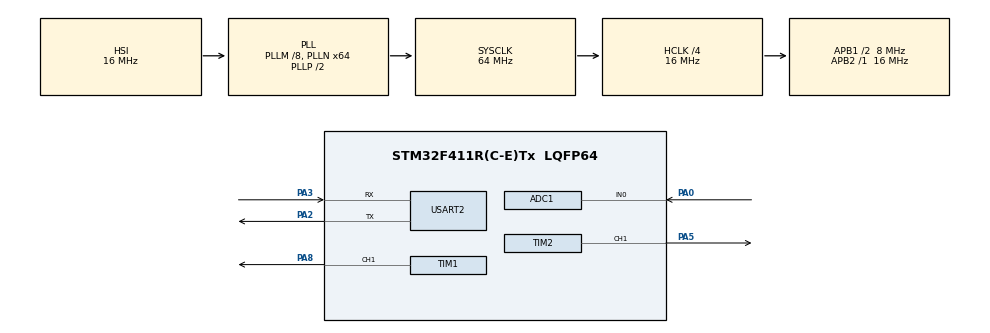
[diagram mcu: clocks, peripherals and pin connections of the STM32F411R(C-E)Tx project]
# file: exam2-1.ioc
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ADC1.Channel-0\#ChannelRegularConversion=ADC_CHANNEL_0
ADC1.ContinuousConvMode=ENABLE
ADC1.NbrOfConversionFlag=1
ADC1.Rank-0\#ChannelRegularConversion=1
ADC1.SamplingTime-0\#ChannelRegularConversion=ADC_SAMPLETIME_56CYCLES
ADC1.master=1
Mcu.Family=STM32F4
Mcu.Name=STM32F411R(C-E)Tx
Mcu.Package=LQFP64
NVIC.PriorityGroup=NVIC_PRIORITYGROUP_4
NVIC.USART2_IRQn=true\:0\:0\:false\:false\:true\:true\:true\:true
PA0-WKUP.Signal=ADCx_IN0
PA13.Mode=Serial_Wire
PA13.Signal=SYS_JTMS-SWDIO
PA14.Mode=Serial_Wire
PA14.Signal=SYS_JTCK-SWCLK
PA2.Mode=Asynchronous
PA2.Signal=USART2_TX
PA3.Mode=Asynchronous
PA3.Signal=USART2_RX
PA5.Signal=S_TIM2_CH1_ETR
PA8.Signal=S_TIM1_CH1
PC14-OSC32_IN.Mode=LSE-External-Oscillator
PC14-OSC32_IN.Signal=RCC_OSC32_IN
PC15-OSC32_OUT.Mode=LSE-External-Oscillator
PC15-OSC32_OUT.Signal=RCC_OSC32_OUT
ProjectManager.HeapSize=0x200
ProjectManager.StackSize=0x400
ProjectManager.TargetToolchain=STM32CubeIDE
RCC.48MHZClocksFreq_Value=32000000
RCC.AHBCLKDivider=RCC_SYSCLK_DIV4
RCC.AHBFreq_Value=16000000
RCC.APB1CLKDivider=RCC_HCLK_DIV2
RCC.APB1Freq_Value=8000000
RCC.APB1TimFreq_Value=16000000
RCC.APB2Freq_Value=16000000
RCC.APB2TimFreq_Value=16000000
RCC.CortexFreq_Value=16000000
RCC.HCLKFreq_Value=16000000
RCC.HSE_VALUE=25000000
RCC.HSI_VALUE=16000000
RCC.PLLM=8
RCC.PLLN=64
RCC.SYSCLKFreq_VALUE=64000000
RCC.SYSCLKSource=RCC_SYSCLKSOURCE_PLLCLK
RCC.VCOOutputFreq_Value=128000000
SH.ADCx_IN0.0=ADC1_IN0,IN0
SH.S_TIM1_CH1.0=TIM1_CH1,PWM Generation1 CH1
SH.S_TIM2_CH1_ETR.0=TIM2_CH1,PWM Generation1 CH1
TIM1.Channel-PWM\ Generation1\ CH1=TIM_CHANNEL_1
TIM1.Period=1000-1
TIM1.Prescaler=16-1
TIM1.Pulse-PWM\ Generation1\ CH1=500-1
TIM2.Channel-PWM\ Generation1\ CH1=TIM_CHANNEL_1
TIM2.Period=1000-1
TIM2.Prescaler=15
TIM2.Pulse-PWM\ Generation1\ CH1=500-1
USART2.VirtualMode=VM_ASYNC
VP_TIM1_VS_ClockSourceINT.Mode=Internal
VP_TIM2_VS_ClockSourceINT.Mode=Internal
board=custom

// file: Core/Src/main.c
/* USER CODE BEGIN Header */
/**
  ******************************************************************************
  * @file           : main.c
  * @brief          : Main program body
  ******************************************************************************
  * @attention
  *
  * Copyright (c) 2024 STMicroelectronics.
  * All rights reserved.
  *
  * This software is licensed under terms that can be found in the LICENSE file
  * in the root directory of this software component.
  * If no LICENSE file comes with this software, it is provided AS-IS.
  *
  ******************************************************************************
  */
/* USER CODE END Header */
#include "main.h"

/* USER CODE BEGIN Includes */
#include <stdbool.h>
#include <string.h>
#include <stdio.h>
#include <math.h>
#include "uart.h"
/* USER CODE END Includes */

ADC_HandleTypeDef hadc1;

TIM_HandleTypeDef htim1;
TIM_HandleTypeDef htim2;

UART_HandleTypeDef huart2;

void SystemClock_Config(void);
static void MX_GPIO_Init(void);
static void MX_USART2_UART_Init(void);
static void MX_ADC1_Init(void);
static void MX_TIM2_Init(void);
static void MX_TIM1_Init(void);

/* USER CODE BEGIN 0 */

int soundLookUpTable[] = {
		131, 147, 165, 175, 196, 220, 237, 262
};

void setSound(int freq){
	htim1.Instance->ARR = 1000000 / freq - 1; // 1MHz / freq - 1
	// duty비�? 50%?��?�� ?��리�? ?��?�� ?��
	htim1.Instance->CCR1 = htim1.Instance->ARR / 2;
}

void stopSound(){
	htim1.Instance->CCR1 = 0;
}
/* USER CODE END 0 */

int main(void)
{

  /* MCU Configuration--------------------------------------------------------*/

  /* Reset of all peripherals, Initializes the Flash interface and the Systick. */
  HAL_Init();

  /* Configure the system clock */
  SystemClock_Config();

  /* Initialize all configured peripherals */
  MX_GPIO_Init();
  MX_USART2_UART_Init();
  MX_ADC1_Init();
  MX_TIM2_Init();
  MX_TIM1_Init();
  /* USER CODE BEGIN 2 */
  initUart(&huart2);
  HAL_TIM_PWM_Start(&htim1, TIM_CHANNEL_1);
  /* USER CODE END 2 */

  /* Infinite loop */
  /* USER CODE BEGIN WHILE */
  stopSound();

  while (1)
  {
  	static bool isAdcRun = false;
  	char *mesg = getString();

  	int16_t ch = getRxBuffer();

  	if (ch != -1){
  		switch(ch){
  			case 'c':
  				setSound(soundLookUpTable[0]);
  				break;
  			case 'd':
  				setSound(soundLookUpTable[1]);
  				break;
  			case 'e':
  				setSound(soundLookUpTable[2]);
  				break;
  			case 'f':
  				setSound(soundLookUpTable[3]);
  				break;
  			case 'g':
  				setSound(soundLookUpTable[4]);
  				break;
  			case 'a':
  				setSound(soundLookUpTable[5]);
  				break;
  			case 'b':
  				setSound(soundLookUpTable[6]);
  				break;
  			case 'C':
  				setSound(soundLookUpTable[7]);
  				break;
  			case ' ':
  				stopSound();
  				break;
  		}
  	}
    /* USER CODE END WHILE */

  }
}

void SystemClock_Config(void)
{
  RCC_OscInitTypeDef RCC_OscInitStruct = {0};
  RCC_ClkInitTypeDef RCC_ClkInitStruct = {0};

  /** Configure the main internal regulator output voltage
  */
  __HAL_RCC_PWR_CLK_ENABLE();
  __HAL_PWR_VOLTAGESCALING_CONFIG(PWR_REGULATOR_VOLTAGE_SCALE1);

  /** Initializes the RCC Oscillators according to the specified parameters
  * in the RCC_OscInitTypeDef structure.
  */
  RCC_OscInitStruct.OscillatorType = RCC_OSCILLATORTYPE_HSI;
  RCC_OscInitStruct.HSIState = RCC_HSI_ON;
  RCC_OscInitStruct.HSICalibrationValue = RCC_HSICALIBRATION_DEFAULT;
  RCC_OscInitStruct.PLL.PLLState = RCC_PLL_ON;
  RCC_OscInitStruct.PLL.PLLSource = RCC_PLLSOURCE_HSI;
  RCC_OscInitStruct.PLL.PLLM = 8;
  RCC_OscInitStruct.PLL.PLLN = 64;
  RCC_OscInitStruct.PLL.PLLP = RCC_PLLP_DIV2;
  RCC_OscInitStruct.PLL.PLLQ = 4;
  if (HAL_RCC_OscConfig(&RCC_OscInitStruct) != HAL_OK)
  {
    Error_Handler();
  }

  /** Initializes the CPU, AHB and APB buses clocks
  */
  RCC_ClkInitStruct.ClockType = RCC_CLOCKTYPE_HCLK|RCC_CLOCKTYPE_SYSCLK
                              |RCC_CLOCKTYPE_PCLK1|RCC_CLOCKTYPE_PCLK2;
  RCC_ClkInitStruct.SYSCLKSource = RCC_SYSCLKSOURCE_PLLCLK;
  RCC_ClkInitStruct.AHBCLKDivider = RCC_SYSCLK_DIV4;
  RCC_ClkInitStruct.APB1CLKDivider = RCC_HCLK_DIV2;
  RCC_ClkInitStruct.APB2CLKDivider = RCC_HCLK_DIV1;

  if (HAL_RCC_ClockConfig(&RCC_ClkInitStruct, FLASH_LATENCY_0) != HAL_OK)
  {
    Error_Handler();
  }
}

static void MX_ADC1_Init(void)
{

  ADC_ChannelConfTypeDef sConfig = {0};

  /** Configure the global features of the ADC (Clock, Resolution, Data Alignment and number of conversion)
  */
  hadc1.Instance = ADC1;
  hadc1.Init.ClockPrescaler = ADC_CLOCK_SYNC_PCLK_DIV2;
  hadc1.Init.Resolution = ADC_RESOLUTION_12B;
  hadc1.Init.ScanConvMode = DISABLE;
  hadc1.Init.ContinuousConvMode = ENABLE;
  hadc1.Init.DiscontinuousConvMode = DISABLE;
  hadc1.Init.ExternalTrigConvEdge = ADC_EXTERNALTRIGCONVEDGE_NONE;
  hadc1.Init.ExternalTrigConv = ADC_SOFTWARE_START;
  hadc1.Init.DataAlign = ADC_DATAALIGN_RIGHT;
  hadc1.Init.NbrOfConversion = 1;
  hadc1.Init.DMAContinuousRequests = DISABLE;
  hadc1.Init.EOCSelection = ADC_EOC_SINGLE_CONV;
  if (HAL_ADC_Init(&hadc1) != HAL_OK)
  {
    Error_Handler();
  }

  /** Configure for the selected ADC regular channel its corresponding rank in the sequencer and its sample time.
  */
  sConfig.Channel = ADC_CHANNEL_0;
  sConfig.Rank = 1;
  sConfig.SamplingTime = ADC_SAMPLETIME_56CYCLES;
  if (HAL_ADC_ConfigChannel(&hadc1, &sConfig) != HAL_OK)
  {
    Error_Handler();
  }

}

static void MX_TIM1_Init(void)
{

  TIM_ClockConfigTypeDef sClockSourceConfig = {0};
  TIM_MasterConfigTypeDef sMasterConfig = {0};
  TIM_OC_InitTypeDef sConfigOC = {0};
  TIM_BreakDeadTimeConfigTypeDef sBreakDeadTimeConfig = {0};

  htim1.Instance = TIM1;
  htim1.Init.Prescaler = 16-1;
  htim1.Init.CounterMode = TIM_COUNTERMODE_UP;
  htim1.Init.Period = 1000-1;
  htim1.Init.ClockDivision = TIM_CLOCKDIVISION_DIV1;
  htim1.Init.RepetitionCounter = 0;
  htim1.Init.AutoReloadPreload = TIM_AUTORELOAD_PRELOAD_DISABLE;
  if (HAL_TIM_Base_Init(&htim1) != HAL_OK)
  {
    Error_Handler();
  }
  sClockSourceConfig.ClockSource = TIM_CLOCKSOURCE_INTERNAL;
  if (HAL_TIM_ConfigClockSource(&htim1, &sClockSourceConfig) != HAL_OK)
  {
    Error_Handler();
  }
  if (HAL_TIM_PWM_Init(&htim1) != HAL_OK)
  {
    Error_Handler();
  }
  sMasterConfig.MasterOutputTrigger = TIM_TRGO_RESET;
  sMasterConfig.MasterSlaveMode = TIM_MASTERSLAVEMODE_DISABLE;
  if (HAL_TIMEx_MasterConfigSynchronization(&htim1, &sMasterConfig) != HAL_OK)
  {
    Error_Handler();
  }
  sConfigOC.OCMode = TIM_OCMODE_PWM1;
  sConfigOC.Pulse = 500-1;
  sConfigOC.OCPolarity = TIM_OCPOLARITY_HIGH;
  sConfigOC.OCNPolarity = TIM_OCNPOLARITY_HIGH;
  sConfigOC.OCFastMode = TIM_OCFAST_DISABLE;
  sConfigOC.OCIdleState = TIM_OCIDLESTATE_RESET;
  sConfigOC.OCNIdleState = TIM_OCNIDLESTATE_RESET;
  if (HAL_TIM_PWM_ConfigChannel(&htim1, &sConfigOC, TIM_CHANNEL_1) != HAL_OK)
  {
    Error_Handler();
  }
  sBreakDeadTimeConfig.OffStateRunMode = TIM_OSSR_DISABLE;
  sBreakDeadTimeConfig.OffStateIDLEMode = TIM_OSSI_DISABLE;
  sBreakDeadTimeConfig.LockLevel = TIM_LOCKLEVEL_OFF;
  sBreakDeadTimeConfig.DeadTime = 0;
  sBreakDeadTimeConfig.BreakState = TIM_BREAK_DISABLE;
  sBreakDeadTimeConfig.BreakPolarity = TIM_BREAKPOLARITY_HIGH;
  sBreakDeadTimeConfig.AutomaticOutput = TIM_AUTOMATICOUTPUT_DISABLE;
  if (HAL_TIMEx_ConfigBreakDeadTime(&htim1, &sBreakDeadTimeConfig) != HAL_OK)
  {
    Error_Handler();
  }
  HAL_TIM_MspPostInit(&htim1);

}

static void MX_TIM2_Init(void)
{

  TIM_ClockConfigTypeDef sClockSourceConfig = {0};
  TIM_MasterConfigTypeDef sMasterConfig = {0};
  TIM_OC_InitTypeDef sConfigOC = {0};

  htim2.Instance = TIM2;
  htim2.Init.Prescaler = 15;
  htim2.Init.CounterMode = TIM_COUNTERMODE_UP;
  htim2.Init.Period = 1000-1;
  htim2.Init.ClockDivision = TIM_CLOCKDIVISION_DIV1;
  htim2.Init.AutoReloadPreload = TIM_AUTORELOAD_PRELOAD_DISABLE;
  if (HAL_TIM_Base_Init(&htim2) != HAL_OK)
  {
    Error_Handler();
  }
  sClockSourceConfig.ClockSource = TIM_CLOCKSOURCE_INTERNAL;
  if (HAL_TIM_ConfigClockSource(&htim2, &sClockSourceConfig) != HAL_OK)
  {
    Error_Handler();
  }
  if (HAL_TIM_PWM_Init(&htim2) != HAL_OK)
  {
    Error_Handler();
  }
  sMasterConfig.MasterOutputTrigger = TIM_TRGO_RESET;
  sMasterConfig.MasterSlaveMode = TIM_MASTERSLAVEMODE_DISABLE;
  if (HAL_TIMEx_MasterConfigSynchronization(&htim2, &sMasterConfig) != HAL_OK)
  {
    Error_Handler();
  }
  sConfigOC.OCMode = TIM_OCMODE_PWM1;
  sConfigOC.Pulse = 500-1;
  sConfigOC.OCPolarity = TIM_OCPOLARITY_HIGH;
  sConfigOC.OCFastMode = TIM_OCFAST_DISABLE;
  if (HAL_TIM_PWM_ConfigChannel(&htim2, &sConfigOC, TIM_CHANNEL_1) != HAL_OK)
  {
    Error_Handler();
  }
  HAL_TIM_MspPostInit(&htim2);

}

static void MX_USART2_UART_Init(void)
{

  huart2.Instance = USART2;
  huart2.Init.BaudRate = 115200;
  huart2.Init.WordLength = UART_WORDLENGTH_8B;
  huart2.Init.StopBits = UART_STOPBITS_1;
  huart2.Init.Parity = UART_PARITY_NONE;
  huart2.Init.Mode = UART_MODE_TX_RX;
  huart2.Init.HwFlowCtl = UART_HWCONTROL_NONE;
  huart2.Init.OverSampling = UART_OVERSAMPLING_16;
  if (HAL_UART_Init(&huart2) != HAL_OK)
  {
    Error_Handler();
  }

}

static void MX_GPIO_Init(void)
{

  /* GPIO Ports Clock Enable */
  __HAL_RCC_GPIOC_CLK_ENABLE();
  __HAL_RCC_GPIOA_CLK_ENABLE();

}

void Error_Handler(void)
{
  __disable_irq();
  while (1)
  {
  }
}
